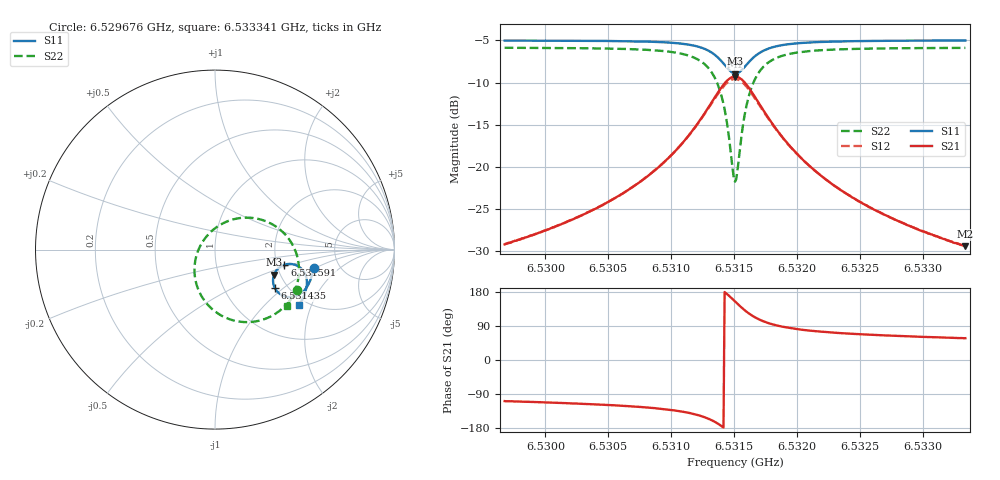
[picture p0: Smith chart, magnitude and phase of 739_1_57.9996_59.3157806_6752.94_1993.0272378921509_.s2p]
#  HZ  S  RI  R  50.00
! Rohde & Schwarz Vector Network Analyzer
! Rohde-Schwarz,ZNB20-2Port,1311601062101988,3.16
! Created: UTC 3/21/2024, 1:23:24 AM
! freq[Hz]  re:S11  im:S11  re:S21  im:S21  re:S12  im:S12  re:S22  im:S22
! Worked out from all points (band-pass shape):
!   401 points, 6.529676 GHz to 6.533341 GHz, reference 50 ohm
!   highest |S21| = -9.30 dB at 6.531508 GHz (marker M1); lowest = -29.4 dB at 6.533341 GHz (marker M2)
!   |S21| within 3 dB of the highest: 6.531325 GHz to 6.531692 GHz (367 kHz wide, 0.00562 % of centre)
!   lowest |S11| = -8.9 dB at 6.531508 GHz (marker M3), VSWR 2.11, Z = 92.8 - j29.8 ohm
!   |S11| at or under -10 dB: nowhere
!   |S22| runs from -21.8 to -5.9 dB; largest |S21 - S12| = 0.015
!   S11 on the Smith chart (normalised r, x): 6.529676 GHz: 3.22, -0.98; 6.531435 GHz: 1.72, -0.87; 6.531591 GHz: 2.20, -0.44; 6.533341 GHz: 1.81, -1.64
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6.5296757e9  0.5503 -0.1047  -0.011 -0.0329  -0.0117 -0.0328  0.4565 -0.2229
6.5302897e9  0.5364 -0.1568  -0.0224 -0.0465  -0.0235 -0.0461  0.4197 -0.281
6.5306104e9  0.5238 -0.1875  -0.0354 -0.0594  -0.037 -0.0584  0.385 -0.3193
6.5309036e9  0.5032 -0.2206  -0.0618 -0.0785  -0.0643 -0.0767  0.3255 -0.3642
6.5311144e9  0.4723 -0.2487  -0.1075 -0.0977  -0.1106 -0.0936  0.2343 -0.3985
6.5312793e9  0.419 -0.2651  -0.1906 -0.0988  -0.1924 -0.0903  0.0839 -0.389
6.5313709e9  0.3683 -0.2515  -0.2682 -0.0586  -0.2654 -0.0469  -0.0417 -0.3056
6.5314076e9  0.3465 -0.2333  -0.2997 -0.0212  -0.2935 -0.00938  -0.087 -0.2364
6.5314351e9  0.333 -0.2132  -0.3181 0.0176  -0.3087 0.028  -0.1091 -0.1688
6.5314901e9  0.3242 -0.1593  -0.3215 0.1141  -0.3081 0.1192  -0.0956 -0.00993
6.5315084e9  0.3288 -0.1403  -0.3099 0.1468  -0.2962 0.1495  -0.0706 0.0412
6.5315267e9  0.3375 -0.1229  -0.2921 0.1768  -0.2788 0.1771  -0.0358 0.0863
6.5315634e9  0.3636 -0.0958  -0.2428 0.2217  -0.232 0.2185  0.0527 0.1506
6.5315909e9  0.3867 -0.0843  -0.2007 0.2403  -0.1924 0.2357  0.1246 0.1737
6.5316183e9  0.4099 -0.0798  -0.16 0.2471  -0.154 0.2422  0.193 0.1778
6.531655e9  0.4371 -0.0821  -0.1133 0.2431  -0.1093 0.2387  0.2706 0.1627
6.5317466e9  0.4812 -0.1064  -0.0384 0.2059  -0.0367 0.2035  0.3913 0.0841
6.5318841e9  0.5062 -0.1462  0.00538 0.1505  0.00648 0.1495  0.4545 -0.026
6.5321223e9  0.512 -0.1934  0.0222 0.0955  0.0235 0.095  0.4674 -0.1377
6.5323881e9  0.5058 -0.228  0.0237 0.0657  0.0247 0.0652  0.4547 -0.204
6.5327363e9  0.4936 -0.2621  0.0217 0.0455  0.0226 0.0451  0.4337 -0.2563
6.5333411e9  0.4688 -0.3088  0.0181 0.0286  0.0189 0.0282  0.3984 -0.3139
